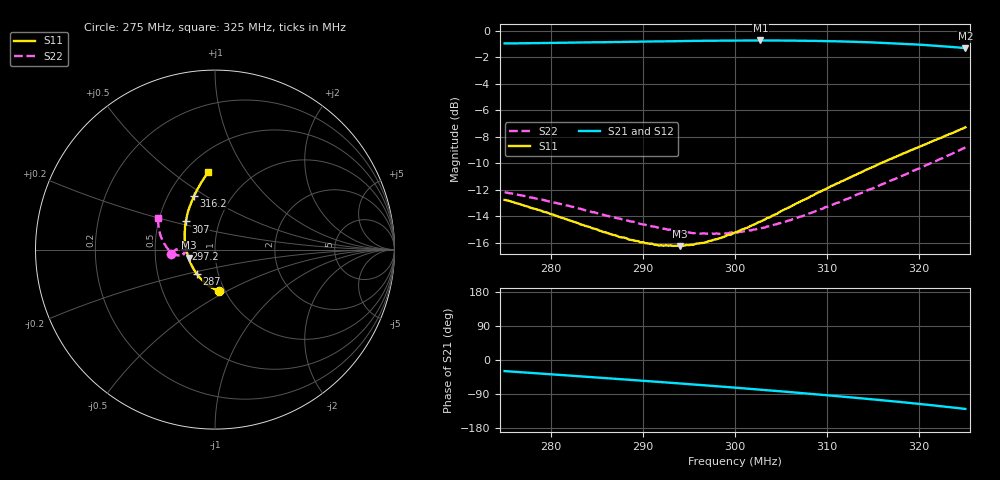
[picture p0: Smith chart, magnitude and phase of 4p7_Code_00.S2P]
!Agilent Technologies,E5071C,MY46417555,A.11.08
!Date: Wed Apr 16 11:27:38 2014
!Data & Calibration Information:
!Freq	S11:SOLT4(ON)	S21:SOLT4(ON)	S12:SOLT4(ON)	S22:SOLT4(ON)
!PortZ  Port1:50+j0  Port2:50+j0
!Above PortZ is port z conversion or system Z0 setting when saving the data.
!When reading, reference impedance value at option line is always used.
# Hz S dB R 50
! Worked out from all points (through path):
!   201 points, 275 MHz to 325 MHz, reference 50 ohm
!   highest |S21| = -0.73 dB at 302.8 MHz (marker M1); lowest = -1.3 dB at 325 MHz (marker M2)
!   lowest |S11| = -16.3 dB at 294 MHz (marker M3), VSWR 1.36, Z = 37 - j3.44 ohm
!   |S11| at or under -10 dB: start of sweep to 315.8 MHz
!   |S22| runs from -15.3 to -8.8 dB; largest |S21 - S12| = 0.024
!   S11 on the Smith chart (normalised r, x): 275 MHz: 0.93, -0.45; 287 MHz: 0.79, -0.22; 297.2 MHz: 0.72, +0.00; 307 MHz: 0.69, +0.23; 316.2 MHz: 0.67, +0.45; 325 MHz: 0.64, +0.68
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2.75e8  -12.76 -85.1  -0.95 -29.3  -0.90 -27.8  -12.19 -174.4
2.7975e8  -13.75 -99.4  -0.92 -37.3  -0.83 -36.1  -12.87 -178.4
2.835e8  -14.66 -112.3  -0.88 -43.6  -0.79 -42.7  -13.49 179.7
2.87e8  -15.43 -126.9  -0.85 -49.6  -0.76 -48.9  -14.11 179.0
2.8975e8  -15.98 -140.3  -0.82 -54.3  -0.75 -53.9  -14.57 179.4
2.9175e8  -16.21 -150.5  -0.79 -57.9  -0.75 -57.5  -14.90 -179.6
2.94e8  -16.26 -162.9  -0.77 -61.9  -0.75 -61.7  -15.14 -178.1
2.955e8  -16.14 -171.2  -0.76 -64.6  -0.75 -64.5  -15.28 -177.1
2.9725e8  -15.86 179.1  -0.75 -67.8  -0.76 -67.8  -15.33 -175.4
2.995e8  -15.40 167.6  -0.73 -72.0  -0.78 -72.0  -15.22 -173.3
3e8  -15.23 165.1  -0.73 -72.9  -0.78 -72.9  -15.21 -172.8
3.0275e8  -14.40 152.4  -0.73 -78.2  -0.81 -78.3  -14.92 -171.2
3.07e8  -12.91 136.1  -0.74 -86.8  -0.88 -86.7  -14.04 -170.4
3.085e8  -12.41 131.1  -0.76 -89.9  -0.91 -89.7  -13.69 -171.0
3.1225e8  -11.14 120.7  -0.81 -97.8  -0.99 -97.5  -12.67 -174.5
3.14e8  -10.56 116.2  -0.85 -101.7  -1.04 -101.3  -12.17 -177.2
3.1625e8  -9.86 111.2  -0.91 -106.9  -1.10 -106.3  -11.50 178.1
3.1675e8  -9.71 110.1  -0.93 -108.0  -1.12 -107.4  -11.34 177.1
3.185e8  -9.19 106.7  -0.99 -112.2  -1.19 -111.4  -10.84 172.7
3.2075e8  -8.54 102.5  -1.08 -117.8  -1.27 -116.9  -10.13 166.1
3.2275e8  -7.95 99.0  -1.17 -123.0  -1.36 -122.0  -9.51 159.6
3.25e8  -7.28 95.3  -1.31 -129.1  -1.48 -128.0  -8.80 151.1
